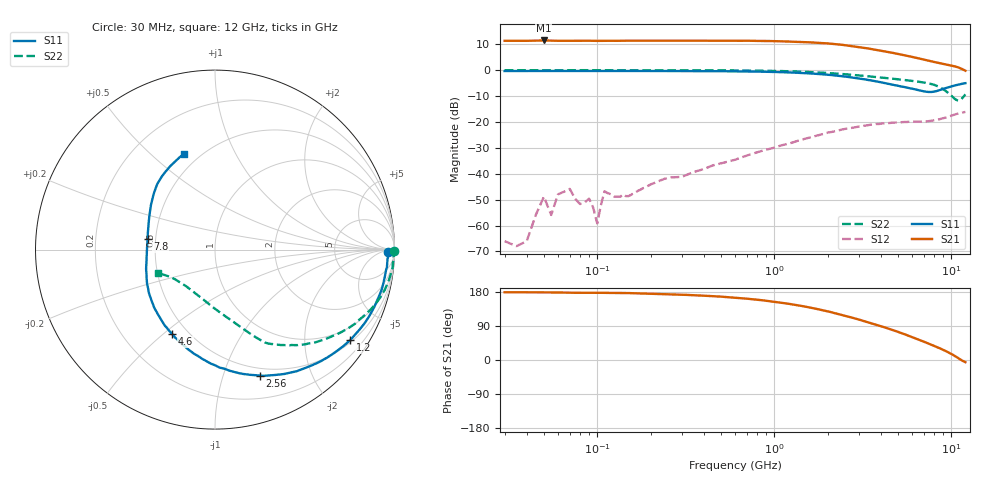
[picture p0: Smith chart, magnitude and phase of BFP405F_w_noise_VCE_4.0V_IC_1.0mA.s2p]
! Infineon Technologies  Discrete & RF Semiconductors
! BFP405F
! VCE =  4.0 V,  IC =  1.0 mA
! Common Emitter S-Parameters:  Nov 2015
# GHz  S  MA  R  50
!  f  S11  S21  S12  S22
! GHz  MAG  ANG  MAG  ANG  MAG  ANG  MAG  ANG
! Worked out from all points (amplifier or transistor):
!   239 points, 30 MHz to 12 GHz, reference 50 ohm
!   highest |S21| = 11.5 dB at 50 MHz (marker M1)
!   |S21| within 3 dB of that: start of sweep to 3.326 GHz
!   unconditionally stable (mu >= 1): 4.838 GHz to end of sweep
!   at 300 MHz: K = -0.01, MSG = 26.3 dB, |S12| = -41.2 dB
!   at 1.88 GHz: K = 0.21, MSG = 17.6 dB, |S12| = -24.7 dB
!   at 12 GHz: K = 1.99, MAG = 2.3 dB, |S12| = -16.1 dB
!   lowest NFmin = 0.95 dB at 450 MHz
!   S11 on the Smith chart (normalised r, x): 30 MHz: 47, -15; 1.2 GHz: 0.57, -3.19; 2.56 GHz: 0.42, -1.33; 4.6 GHz: 0.41, -0.53; 7.8 GHz: 0.45, +0.06; 12 GHz: 0.41, +0.64
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0.03  0.9616 -0.7  3.689 178.8  0.0005 -116.9  0.997 -0.5
0.04  0.9607 -1.0  3.682 178.9  0.0005 -179.3  0.9951 -0.5
0.05  0.964 -1.7  3.741 178.3  0.0036 -41.1  0.9943 -0.7
0.055  0.9651 -1.6  3.713 178.3  0.0016 30.1  0.9948 -0.7
0.06  0.9662 -1.6  3.686 178.2  0.004 88.5  0.9952 -0.7
0.07  0.9636 -2.1  3.683 177.5  0.0051 82.7  0.9992 -1.0
0.085  0.964 -2.5  3.691 177.5  0.0028 129.4  0.9992 -1.2
0.09  0.9641 -2.5  3.697 177.6  0.0033 114.4  1 -1.3
0.1  0.9643 -2.8  3.668 177.5  0.0011 122.9  0.9967 -1.6
0.11  0.9626 -3.0  3.689 177.1  0.0046 50.6  0.9966 -1.5
0.15  0.962 -4.3  3.707 176.6  0.0037 94.0  0.995 -2.2
0.24  0.96 -6.7  3.704 173.9  0.008 85.3  0.9959 -3.6
0.6  0.9485 -16.9  3.682 164.4  0.0186 84.8  0.9872 -8.8
1.2  0.9059 -33.9  3.566 148.5  0.0378 74.0  0.9521 -17.2
1.64  0.8587 -46.0  3.415 137.2  0.0516 67.2  0.9152 -23.0
2.56  0.7454 -70.3  3.001 115.6  0.0739 54.0  0.8295 -34.5
3.2  0.6652 -85.6  2.708 102.8  0.0843 46.4  0.7755 -40.9
4.5  0.5374 -114.6  2.204 81.5  0.0962 35.0  0.6938 -50.1
4.6  0.5268 -117.0  2.173 79.9  0.0963 34.3  0.687 -50.7
7.8  0.3803 171.2  1.467 39.4  0.1063 28.2  0.5337 -65.4
10.8  0.5194 120.7  1.144 6.6  0.144 25.9  0.2621 -119.9
12  0.56 108.2  0.975 -5.8  0.1562 22.8  0.3415 -157.6
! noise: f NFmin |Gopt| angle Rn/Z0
0.45  0.95  0.71  8  0.64
0.9  0.98  0.67  15  0.67
1.5  1.19  0.65  22  0.58
1.9  1.27  0.61  31  0.56
2.4  1.5  0.57  41  0.57
3  1.58  0.55  52  0.52
3.5  1.65  0.54  62  0.48
4.5  1.9  0.46  83  0.38
5.5  2.29  0.32  105  0.28
